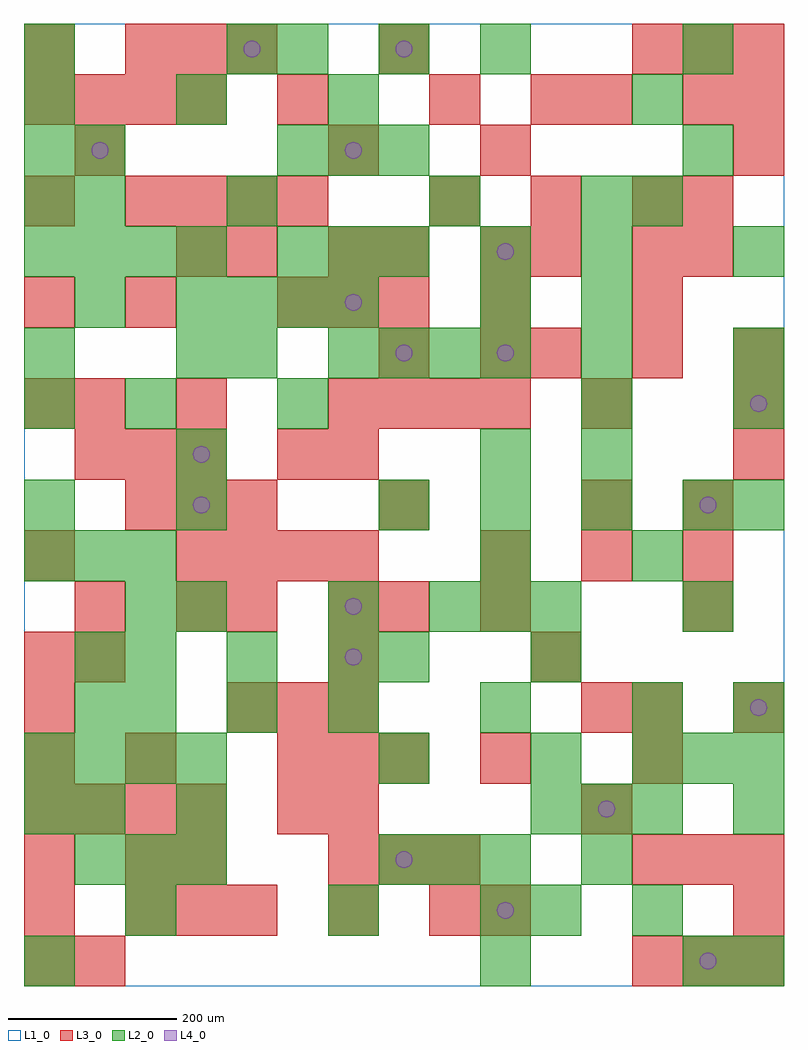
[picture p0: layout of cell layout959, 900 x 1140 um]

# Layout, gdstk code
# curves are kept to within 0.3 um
import gdstk
lib = gdstk.Library(unit=1e-6, precision=1e-09)
def R(c, l, rs):  # rectangles x0, y0, x1, y1
    for r in rs: c.add(gdstk.rectangle(r[:2], r[2:], *l))
def A(c, l, x, y, w, h, nx, ny, dx, dy):  # array of equal rectangles
    R(c, l, [(x+i*dx, y+j*dy, x+i*dx+w, y+j*dy+h) for i in range(nx) for j in range(ny)])
def P(c, l, *ps):  # polygons
    for p in ps: c.add(gdstk.Polygon(p, *l))
L1_0 = (1, 0)
L2_0 = (2, 0)
L3_0 = (3, 0)
L4_0 = (4, 0)

layout959 = lib.new_cell('layout959')
R(layout959, L1_0, [(0,0,900,1140)])
A(layout959, L2_0, 60, 120, 60, 60, 3, 1, 60, 0)
A(layout959, L2_0, 420, 120, 60, 60, 3, 1, 60, 0)
A(layout959, L2_0, 600, 180, 60, 60, 3, 1, 60, 0)
A(layout959, L2_0, 0, 240, 60, 60, 4, 2, 60, 600)
A(layout959, L2_0, 720, 240, 60, 60, 3, 1, 60, 0)
A(layout959, L2_0, 120, 300, 60, 60, 3, 2, 120, 60)
A(layout959, L2_0, 480, 420, 60, 60, 3, 1, 60, 0)
A(layout959, L2_0, 0, 480, 60, 60, 3, 1, 60, 0)
A(layout959, L2_0, 420, 540, 60, 60, 4, 1, 120, 0)
A(layout959, L2_0, 660, 600, 60, 60, 1, 6, 0, 60)
A(layout959, L2_0, 240, 720, 60, 60, 1, 3, 0, 180)
A(layout959, L2_0, 360, 720, 60, 60, 4, 1, 60, 0)
A(layout959, L2_0, 180, 780, 60, 60, 4, 1, 60, 0)
A(layout959, L2_0, 300, 840, 60, 60, 3, 2, 60, 120)
A(layout959, L2_0, 0, 1020, 60, 60, 3, 1, 180, 0)
A(layout959, L2_0, 300, 1080, 60, 60, 3, 1, 120, 0)
R(layout959, L2_0, [(0,0,60,60), (540,0,600,60), (780,0,840,60), (840,0,900,60), (120,60,180,120), (360,60,420,120), (540,60,600,120), (600,60,660,120), (720,60,780,120), (660,120,720,180), (0,180,60,240), (60,180,120,240), (180,180,240,240), (840,180,900,240), (420,240,480,300), (600,240,660,300), (60,300,120,360), (540,300,600,360), (720,300,780,360), (840,300,900,360), (60,360,120,420), (420,360,480,420), (600,360,660,420), (120,420,180,480), (180,420,240,480), (360,420,420,480), (780,420,840,480), (540,480,600,540), (720,480,780,540), (0,540,60,600), (180,540,240,600), (840,540,900,600), (180,600,240,660), (540,600,600,660), (0,660,60,720), (120,660,180,720), (300,660,360,720), (840,660,900,720), (0,720,60,780), (180,720,240,780), (840,720,900,780), (60,780,120,840), (540,780,600,840), (540,840,600,900), (840,840,900,900), (0,900,60,960), (60,900,120,960), (480,900,540,960), (720,900,780,960), (0,960,60,1020), (60,960,120,1020), (780,960,840,1020), (720,1020,780,1080), (0,1080,60,1140), (780,1080,840,1140)])
A(layout959, L3_0, 0, 0, 60, 60, 1, 3, 0, 60)
A(layout959, L3_0, 720, 0, 60, 60, 3, 2, 60, 120)
A(layout959, L3_0, 120, 60, 60, 60, 3, 2, 60, 480)
A(layout959, L3_0, 540, 60, 60, 60, 1, 3, 0, 180)
A(layout959, L3_0, 360, 120, 60, 60, 3, 1, 60, 0)
A(layout959, L3_0, 0, 180, 60, 60, 4, 2, 60, 840)
A(layout959, L3_0, 300, 180, 60, 60, 1, 3, 0, 420)
A(layout959, L3_0, 0, 240, 60, 60, 1, 3, 0, 60)
A(layout959, L3_0, 300, 240, 60, 60, 3, 2, 60, 540)
A(layout959, L3_0, 240, 300, 60, 60, 3, 1, 60, 0)
A(layout959, L3_0, 180, 480, 60, 60, 4, 1, 60, 0)
A(layout959, L3_0, 540, 480, 60, 60, 3, 1, 120, 0)
A(layout959, L3_0, 60, 600, 60, 60, 3, 1, 60, 0)
A(layout959, L3_0, 0, 660, 60, 60, 1, 3, 0, 120)
A(layout959, L3_0, 360, 660, 60, 60, 4, 1, 60, 0)
A(layout959, L3_0, 540, 720, 60, 60, 1, 3, 0, 60)
A(layout959, L3_0, 600, 720, 60, 60, 3, 1, 120, 0)
A(layout959, L3_0, 120, 900, 60, 60, 4, 1, 60, 0)
A(layout959, L3_0, 480, 900, 60, 60, 3, 1, 120, 0)
A(layout959, L3_0, 120, 1080, 60, 60, 3, 1, 60, 0)
A(layout959, L3_0, 720, 1080, 60, 60, 3, 1, 60, 0)
R(layout959, L3_0, [(60,0,120,60), (360,60,420,120), (480,60,540,120), (840,60,900,120), (120,120,180,180), (180,120,240,180), (360,180,420,240), (660,180,720,240), (120,240,180,300), (720,240,780,300), (660,300,720,360), (720,300,780,360), (840,300,900,360), (60,360,120,420), (360,360,420,420), (600,360,660,420), (60,420,120,480), (180,420,240,480), (240,420,300,480), (360,420,420,480), (420,420,480,480), (780,420,840,480), (0,480,60,540), (420,540,480,600), (660,540,720,600), (780,540,840,600), (360,600,420,660), (840,600,900,660), (60,660,120,720), (180,660,240,720), (660,660,720,720), (840,660,900,720), (420,720,480,780), (120,780,180,840), (720,780,780,840), (180,840,240,900), (240,840,300,900), (360,840,420,900), (420,840,480,900), (600,840,660,900), (720,840,780,900), (780,840,840,900), (780,900,840,960), (60,960,120,1020), (360,960,420,1020), (540,960,600,1020), (840,960,900,1020), (480,1020,540,1080), (600,1020,660,1080), (660,1020,720,1080), (780,1020,840,1080), (840,1020,900,1080), (0,1080,60,1140), (420,1080,480,1140)])
P(layout959, L4_0, [(100,990),(99.239,993.827),(97.071,997.071),(93.827,999.239),(90,1000),(86.173,999.239),(82.929,997.071),(80.761,993.827),(80,990),(80.761,986.173),(82.929,982.929),(86.173,980.761),(90,980),(93.827,980.761),(97.071,982.929),(99.239,986.173)],
  [(220,570),(219.239,573.827),(217.071,577.071),(213.827,579.239),(210,580),(206.173,579.239),(202.929,577.071),(200.761,573.827),(200,570),(200.761,566.173),(202.929,562.929),(206.173,560.761),(210,560),(213.827,560.761),(217.071,562.929),(219.239,566.173)],
  [(220,630),(219.239,633.827),(217.071,637.071),(213.827,639.239),(210,640),(206.173,639.239),(202.929,637.071),(200.761,633.827),(200,630),(200.761,626.173),(202.929,622.929),(206.173,620.761),(210,620),(213.827,620.761),(217.071,622.929),(219.239,626.173)],
  [(280,1110),(279.239,1113.827),(277.071,1117.071),(273.827,1119.239),(270,1120),(266.173,1119.239),(262.929,1117.071),(260.761,1113.827),(260,1110),(260.761,1106.173),(262.929,1102.929),(266.173,1100.761),(270,1100),(273.827,1100.761),(277.071,1102.929),(279.239,1106.173)],
  [(400,390),(399.239,393.827),(397.071,397.071),(393.827,399.239),(390,400),(386.173,399.239),(382.929,397.071),(380.761,393.827),(380,390),(380.761,386.173),(382.929,382.929),(386.173,380.761),(390,380),(393.827,380.761),(397.071,382.929),(399.239,386.173)],
  [(400,450),(399.239,453.827),(397.071,457.071),(393.827,459.239),(390,460),(386.173,459.239),(382.929,457.071),(380.761,453.827),(380,450),(380.761,446.173),(382.929,442.929),(386.173,440.761),(390,440),(393.827,440.761),(397.071,442.929),(399.239,446.173)],
  [(400,810),(399.239,813.827),(397.071,817.071),(393.827,819.239),(390,820),(386.173,819.239),(382.929,817.071),(380.761,813.827),(380,810),(380.761,806.173),(382.929,802.929),(386.173,800.761),(390,800),(393.827,800.761),(397.071,802.929),(399.239,806.173)],
  [(400,990),(399.239,993.827),(397.071,997.071),(393.827,999.239),(390,1000),(386.173,999.239),(382.929,997.071),(380.761,993.827),(380,990),(380.761,986.173),(382.929,982.929),(386.173,980.761),(390,980),(393.827,980.761),(397.071,982.929),(399.239,986.173)],
  [(460,150),(459.239,153.827),(457.071,157.071),(453.827,159.239),(450,160),(446.173,159.239),(442.929,157.071),(440.761,153.827),(440,150),(440.761,146.173),(442.929,142.929),(446.173,140.761),(450,140),(453.827,140.761),(457.071,142.929),(459.239,146.173)],
  [(460,750),(459.239,753.827),(457.071,757.071),(453.827,759.239),(450,760),(446.173,759.239),(442.929,757.071),(440.761,753.827),(440,750),(440.761,746.173),(442.929,742.929),(446.173,740.761),(450,740),(453.827,740.761),(457.071,742.929),(459.239,746.173)],
  [(460,1110),(459.239,1113.827),(457.071,1117.071),(453.827,1119.239),(450,1120),(446.173,1119.239),(442.929,1117.071),(440.761,1113.827),(440,1110),(440.761,1106.173),(442.929,1102.929),(446.173,1100.761),(450,1100),(453.827,1100.761),(457.071,1102.929),(459.239,1106.173)],
  [(580,90),(579.239,93.827),(577.071,97.071),(573.827,99.239),(570,100),(566.173,99.239),(562.929,97.071),(560.761,93.827),(560,90),(560.761,86.173),(562.929,82.929),(566.173,80.761),(570,80),(573.827,80.761),(577.071,82.929),(579.239,86.173)],
  [(580,750),(579.239,753.827),(577.071,757.071),(573.827,759.239),(570,760),(566.173,759.239),(562.929,757.071),(560.761,753.827),(560,750),(560.761,746.173),(562.929,742.929),(566.173,740.761),(570,740),(573.827,740.761),(577.071,742.929),(579.239,746.173)],
  [(580,870),(579.239,873.827),(577.071,877.071),(573.827,879.239),(570,880),(566.173,879.239),(562.929,877.071),(560.761,873.827),(560,870),(560.761,866.173),(562.929,862.929),(566.173,860.761),(570,860),(573.827,860.761),(577.071,862.929),(579.239,866.173)],
  [(700,210),(699.239,213.827),(697.071,217.071),(693.827,219.239),(690,220),(686.173,219.239),(682.929,217.071),(680.761,213.827),(680,210),(680.761,206.173),(682.929,202.929),(686.173,200.761),(690,200),(693.827,200.761),(697.071,202.929),(699.239,206.173)],
  [(820,30),(819.239,33.827),(817.071,37.071),(813.827,39.239),(810,40),(806.173,39.239),(802.929,37.071),(800.761,33.827),(800,30),(800.761,26.173),(802.929,22.929),(806.173,20.761),(810,20),(813.827,20.761),(817.071,22.929),(819.239,26.173)],
  [(820,570),(819.239,573.827),(817.071,577.071),(813.827,579.239),(810,580),(806.173,579.239),(802.929,577.071),(800.761,573.827),(800,570),(800.761,566.173),(802.929,562.929),(806.173,560.761),(810,560),(813.827,560.761),(817.071,562.929),(819.239,566.173)],
  [(880,330),(879.239,333.827),(877.071,337.071),(873.827,339.239),(870,340),(866.173,339.239),(862.929,337.071),(860.761,333.827),(860,330),(860.761,326.173),(862.929,322.929),(866.173,320.761),(870,320),(873.827,320.761),(877.071,322.929),(879.239,326.173)],
  [(880,690),(879.239,693.827),(877.071,697.071),(873.827,699.239),(870,700),(866.173,699.239),(862.929,697.071),(860.761,693.827),(860,690),(860.761,686.173),(862.929,682.929),(866.173,680.761),(870,680),(873.827,680.761),(877.071,682.929),(879.239,686.173)])

lib.write_gds('layout959.gds')
